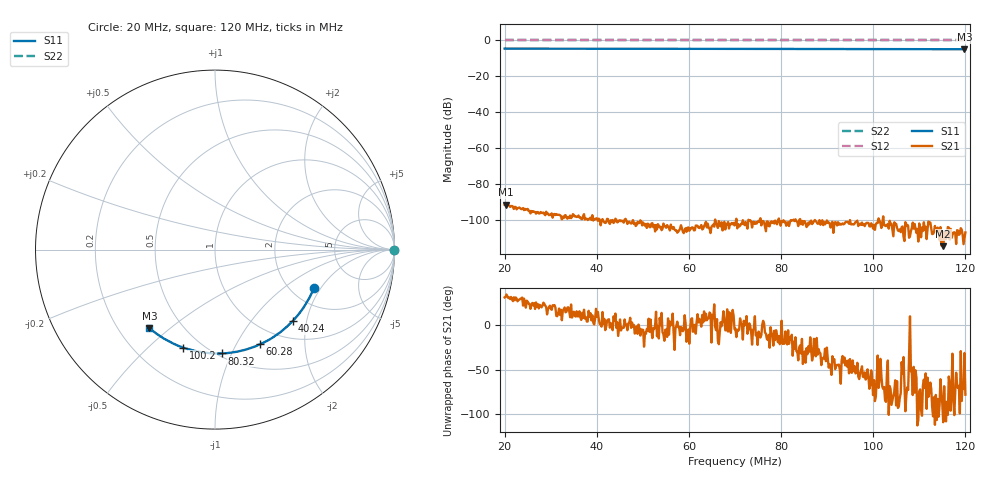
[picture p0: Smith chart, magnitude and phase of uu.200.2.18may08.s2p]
! Anritsu VNA Master:  Model: MS2036C/10/77
! SN:  1601066
! /bd0/18may08.cable.cal/uu.200.2.s2p
! Existing Calibration Information:
! TYPE:  Current Settings,  Active Cal Settings
! TIME:  05/08/2018 06:04:12 PM,  05/08/2018 05:57:55 PM
! INTERNAL TEMP:  49.3 C,  49.3 C
! # POINTS:  500,  500
! START FREQ:  20.000 MHz,  20.000 MHz
! STOP FREQ:  120.000 MHz,  120.000 MHz
! SOURCE POWER:  High,  High
! IFBW:  50 Hz,  50 Hz
! AVG FACTOR:  1 ,  1
! REF PLANE 1:  0 mm,  0 mm
! REF PLANE 2:  0 mm,  0 mm
! CAL TYPE:  Full S11,  Full S11
! CAL METHOD:  SOLT,  SOLT
! CAL LINE TYPE:  Coax,  Coax
! DUT PORT 1:  K-Conn(F),  K-Conn(F)
! DUT PORT 2:  K-Conn(F),  K-Conn(F)
! CAL STATUS:  OK: Accuracy High,  --
# GHZ S DB R 50.0
! FREQ.GHZ  S11DB  S11A  S21DB  S21A  S12DB  S12A  S22DB  S22A
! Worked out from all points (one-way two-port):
!   500 points, 20 MHz to 120 MHz, reference 50 ohm
!   highest |S21| = -91.58 dB at 20.2 MHz (marker M1); lowest = -114.7 dB at 115.2 MHz (marker M2)
!   lowest |S11| = -4.9 dB at 119.8 MHz (marker M3), VSWR 3.65, Z = 16.4 - j21.2 ohm
!   |S11| at or under -10 dB: nowhere
!   |S22| runs from 0.0 to 0.0 dB; largest |S21 - S12| = 1
!   S11 on the Smith chart (normalised r, x): 20 MHz: 2.64, -1.73; 40.24 MHz: 1.36, -1.66; 60.28 MHz: 0.79, -1.26; 80.32 MHz: 0.53, -0.92; 100.2 MHz: 0.40, -0.65; 120 MHz: 0.33, -0.42
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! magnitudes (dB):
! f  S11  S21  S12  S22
! 20 MHz  -4.6  -91.6  0.0  0.0
! 20.2 MHz  -4.6  -91.6  0.0  0.0
! 30.62 MHz  -4.6  -96.9  0.0  0.0
! 31.62 MHz  -4.6  -97.2  0.0  0.0
! 36.83 MHz  -4.6  -99.7  0.0  0.0
! 40.24 MHz  -4.6  -100.6  0.0  0.0
! 53.47 MHz  -4.6  -103.3  0.0  0.0
! 60.28 MHz  -4.7  -104.8  0.0  0.0
! 61.88 MHz  -4.7  -103.4  0.0  0.0
! 62.89 MHz  -4.7  -105.4  0.0  0.0
! 65.49 MHz  -4.7  -103.9  0.0  0.0
! 70.1 MHz  -4.7  -102.1  0.0  0.0
! 75.11 MHz  -4.7  -100.6  0.0  0.0
! 80.32 MHz  -4.7  -101.2  0.0  0.0
! 86.73 MHz  -4.8  -102.4  0.0  0.0
! 93.55 MHz  -4.8  -102.5  0.0  0.0
! 98.16 MHz  -4.8  -103.5  0.0  0.0
! 100.2 MHz  -4.8  -102.9  0.0  0.0
! 103.4 MHz  -4.8  -104.9  0.0  0.0
! 115.2 MHz  -4.9  -114.7  0.0  0.0
! 119.8 MHz  -4.9  -110.1  0.0  0.0
! 120 MHz  -4.9  -107.1  0.0  0.0
